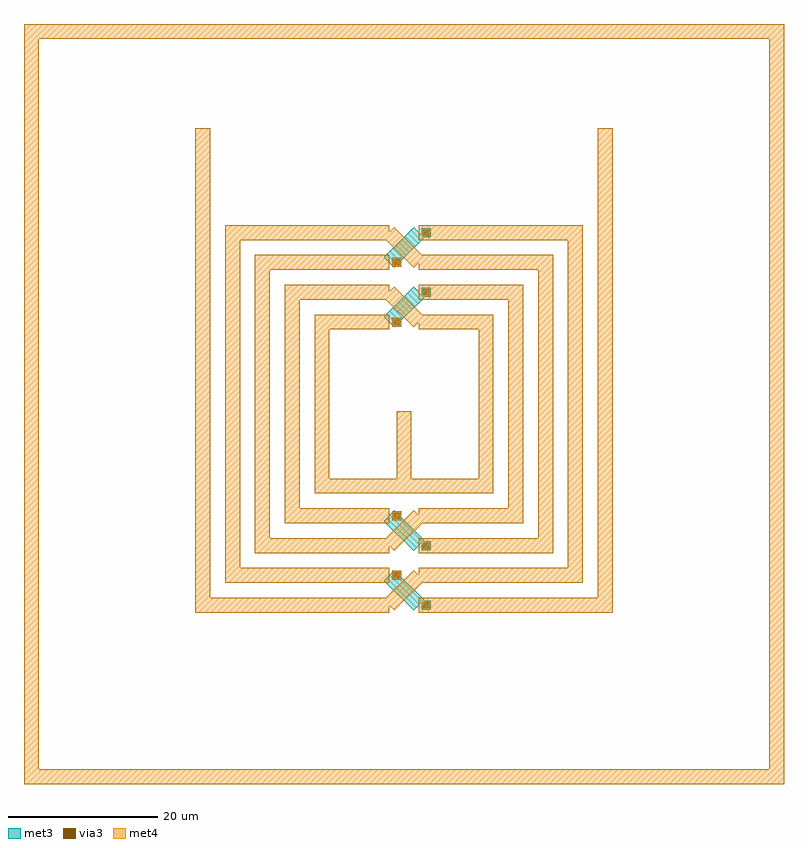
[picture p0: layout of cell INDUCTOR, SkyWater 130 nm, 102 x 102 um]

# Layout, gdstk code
import gdstk
lib = gdstk.Library(unit=1e-6, precision=1e-09)
def R(c, l, rs):  # rectangles x0, y0, x1, y1
    for r in rs: c.add(gdstk.rectangle(r[:2], r[2:], *l))
def P(c, l, *ps):  # polygons
    for p in ps: c.add(gdstk.Polygon(p, *l))
met3 = (70, 20)
via3 = (70, 44)
met4 = (71, 20)

inductor = lib.new_cell('INDUCTOR')
R(inductor, met3, [(51.4,22.4,52.6,23.6), (47.4,26.4,48.6,27.6), (51.4,30.4,52.6,31.6), (47.4,34.4,48.6,35.6), (47.4,60.4,48.6,61.6), (51.4,64.4,52.6,65.6), (47.4,68.4,48.6,69.6), (51.4,72.4,52.6,73.6)])
P(inductor, met3, [(47.707,60.293),(46.293,61.707),(50.293,65.707),(51.707,64.293)],
  [(46.293,34.293),(47.707,35.707),(51.707,31.707),(50.293,30.293)],
  [(47.707,68.293),(46.293,69.707),(50.293,73.707),(51.707,72.293)],
  [(46.293,26.293),(47.707,27.707),(51.707,23.707),(50.293,22.293)])
R(inductor, via3, [(51.6,22.6,52.4,23.4), (47.6,26.6,48.4,27.4), (51.6,30.6,52.4,31.4), (47.6,34.6,48.4,35.4), (47.6,60.6,48.4,61.4), (51.6,64.6,52.4,65.4), (47.6,68.6,48.4,69.4), (51.6,72.6,52.4,73.4)])
R(inductor, met4, [(-2,-1,0,101), (-1,-1,99,1), (98,-1,100,101), (21,22,23,78), (22,22,47,24), (51,22,76,24), (75,22,77,78), (51.4,22.4,52.6,23.6), (75,23,77,87), (25,26,27,74), (26,26,47,28), (51,26,72,28), (71,26,73,74), (47.4,26.4,48.6,27.6), (29,30,31,70), (30,30,47,32), (51,30,68,32), (67,30,69,70), (51.4,30.4,52.6,31.6), (33,34,35,66), (34,34,47,36), (51,34,64,36), (63,34,65,66), (47.4,34.4,48.6,35.6), (37,38,39,62), (38,38,60,40), (59,38,61,62), (48,39,50,49), (38,60,47,62), (51,60,60,62), (47.4,60.4,48.6,61.6), (34,64,47,66), (51,64,64,66), (51.4,64.4,52.6,65.6), (30,68,47,70), (51,68,68,70), (47.4,68.4,48.6,69.6), (26,72,47,74), (51,72,72,74), (51.4,72.4,52.6,73.6), (21,77,23,87), (-1,99,99,101)])
P(inductor, met4, [(46.293,64.293),(47.707,65.707),(51.707,61.707),(50.293,60.293)],
  [(47.707,30.293),(46.293,31.707),(50.293,35.707),(51.707,34.293)],
  [(46.293,72.293),(47.707,73.707),(51.707,69.707),(50.293,68.293)],
  [(47.707,22.293),(46.293,23.707),(50.293,27.707),(51.707,26.293)])

lib.write_gds('INDUCTOR.gds')
